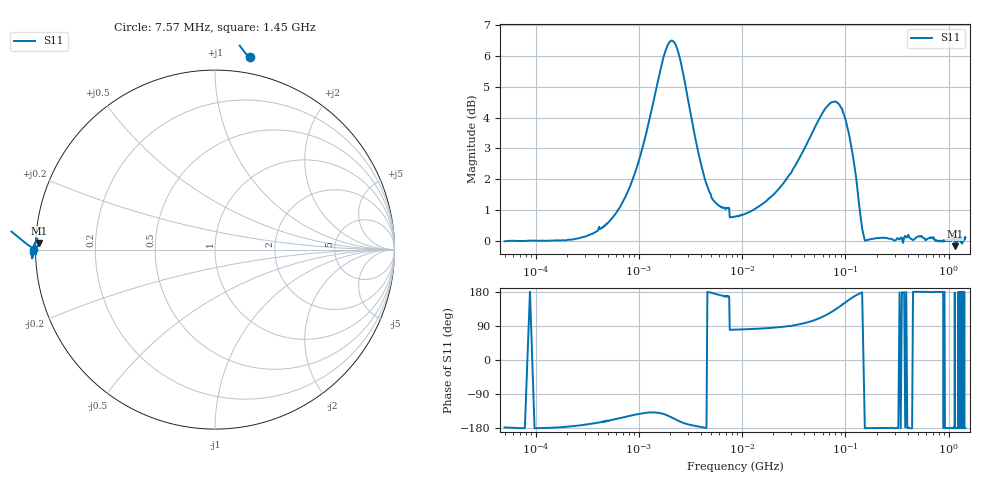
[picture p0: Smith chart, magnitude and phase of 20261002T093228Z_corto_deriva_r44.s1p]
! piloto_deriva / corto_deriva / r44
# HZ S RI R 50
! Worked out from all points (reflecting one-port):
!   501 points, 50 kHz to 1.45 GHz, reference 50 ohm
!   lowest |S11| = -0.2 dB at 1.144 GHz (marker M1), VSWR 96.18, Z = 0.52 + j0.943 ohm
!   phase of S11 starts at -178 deg and turns -2 deg over the sweep
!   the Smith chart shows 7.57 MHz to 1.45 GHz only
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50000  -0.997 -0.0359
183000  -1 -0.0522
363500  -1.004 -0.2244
658000  -1.015 -0.5113
1180000  -1.136 -0.9767
1630000  -1.473 -1.211
1990000  -1.809 -1.08
2170000  -1.899 -0.9093
2440000  -1.899 -0.6449
3070000  -1.632 -0.2697
4330000  -1.262 -0.0299
7300000  -1.109 0.2229
7750000  0.1945 1.074
8560000  0.1867 1.078
1.9e7  0.1088 1.173
3.16e7  -0.0344 1.313
4.69e7  -0.3232 1.454
6.76e7  -0.8604 1.417
7.93e7  -1.14 1.238
9.37e7  -1.355 0.8986
9.82e7  -1.384 0.7835
1e8  -1.391 0.7375
1.18e8  -1.332 0.3377
1.36e8  -1.134 0.1004
1.63e8  -1.003 -0.00381
4.06e8  -1.021 -0.0376
1.144e9  -0.9787 0.0369
1.45e9  -1.012 -0.00594
